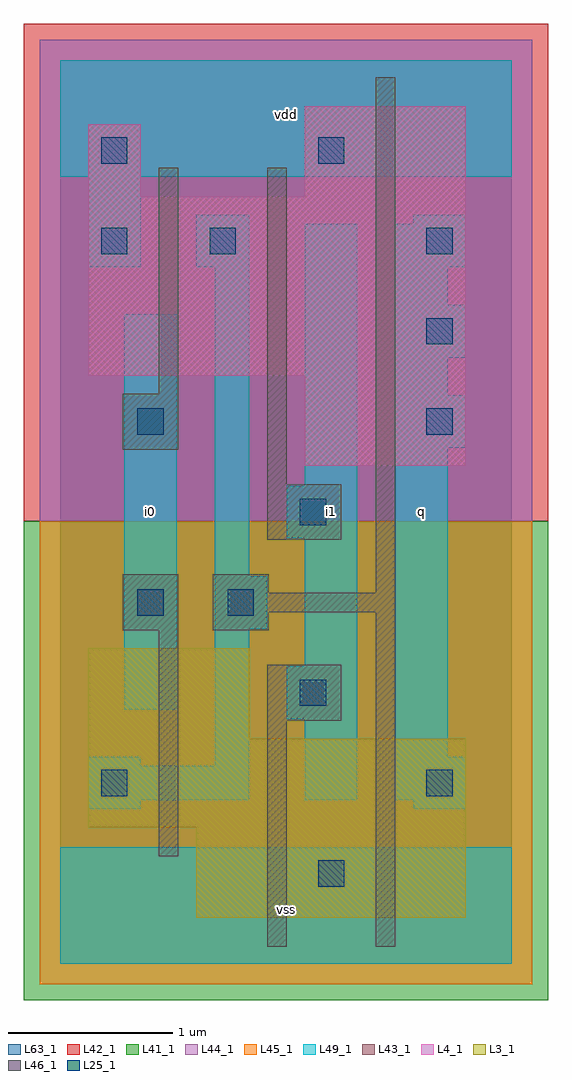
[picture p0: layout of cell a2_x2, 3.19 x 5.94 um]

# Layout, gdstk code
import gdstk
lib = gdstk.Library(unit=1e-6, precision=1e-09)
def R(c, l, rs):  # rectangles x0, y0, x1, y1
    for r in rs: c.add(gdstk.rectangle(r[:2], r[2:], *l))
def A(c, l, x, y, w, h, nx, ny, dx, dy):  # array of equal rectangles
    R(c, l, [(x+i*dx, y+j*dy, x+i*dx+w, y+j*dy+h) for i in range(nx) for j in range(ny)])
L3_1 = (3, 1)
L4_1 = (4, 1)
L25_1 = (25, 1)
L41_1 = (41, 1)
L42_1 = (42, 1)
L43_1 = (43, 1)
L44_1 = (44, 1)
L45_1 = (45, 1)
L46_1 = (46, 1)
L49_1 = (49, 1)
L63_1 = (63, 1)

a2_x2 = lib.new_cell('a2_x2')
R(a2_x2, L3_1, [(0.83,0.28,2.47,0.83), (0.17,0.83,2.47,1.37), (0.17,1.37,1.15,1.92)])
R(a2_x2, L4_1, [(1.49,3.03,2.47,3.58), (0.17,3.58,2.47,4.67), (0.17,4.67,0.49,5.11), (1.49,4.67,2.47,5.22)])
A(a2_x2, L25_1, 2.23, 3.22, 0.16, 0.16, 1, 3, 0, 0.55)
R(a2_x2, L25_1, [(1.57,0.47,1.73,0.63), (0.25,1.02,0.41,1.18), (2.23,1.02,2.39,1.18), (1.46,1.57,1.62,1.73), (0.47,2.12,0.63,2.28), (1.02,2.12,1.18,2.28), (1.46,2.67,1.62,2.83), (0.47,3.22,0.63,3.38), (0.25,4.32,0.41,4.48), (0.91,4.32,1.07,4.48), (0.25,4.87,0.41,5.03), (1.57,4.87,1.73,5.03)])
R(a2_x2, L41_1, [(-0.22,-0.22,2.97,2.695)])
R(a2_x2, L42_1, [(-0.22,2.695,2.97,5.72)])
R(a2_x2, L43_1, [(0.83,0.28,2.47,0.83), (0.17,0.83,2.47,1.37), (0.17,1.37,1.15,1.92), (1.49,3.03,2.47,3.58), (0.17,3.58,2.47,4.67), (0.17,4.67,0.49,5.11), (1.49,4.67,2.47,5.22)])
R(a2_x2, L44_1, [(-0.125,2.695,2.875,5.625)])
R(a2_x2, L45_1, [(-0.125,-0.125,2.875,2.695)])
R(a2_x2, L46_1, [(1.26,0.105,1.38,1.48), (1.92,0.105,2.04,2.14), (0.6,0.655,0.72,2.03), (1.26,1.48,1.71,1.82), (0.38,2.03,0.72,2.37), (0.93,2.03,1.27,2.14), (0.93,2.14,2.04,2.26), (0.93,2.26,1.27,2.37), (1.92,2.26,2.04,5.395), (1.26,2.58,1.71,2.92), (1.26,2.92,1.38,4.845), (0.38,3.13,0.72,3.47), (0.6,3.47,0.72,4.845)])
R(a2_x2, L49_1, [(0,0,2.75,0.71), (0.17,0.94,0.49,0.995), (2.15,0.94,2.47,0.995), (0.17,0.995,1.15,1.205), (1.49,0.995,1.81,1.49), (2.04,0.995,2.47,1.26), (0.17,1.205,0.49,1.26), (0.94,1.205,1.15,2.04), (2.04,1.26,2.36,3.14), (1.38,1.49,1.81,1.81), (0.39,1.545,0.71,3.955), (1.49,1.81,1.81,2.59), (0.94,2.04,1.26,2.36), (0.94,2.36,1.15,4.24), (1.38,2.59,1.81,2.91), (1.49,2.91,1.81,4.505), (2.04,3.14,2.47,3.46), (2.04,3.46,2.36,3.69), (2.04,3.69,2.47,4.01), (2.04,4.01,2.36,4.24), (0.17,4.24,0.49,4.79), (0.83,4.24,1.15,4.56), (2.04,4.24,2.47,4.505), (2.15,4.505,2.47,4.56), (0,4.79,2.75,5.5)])
R(a2_x2, L63_1, [(0,0,2.75,5.5)])
a2_x2.add(gdstk.Label('i0', (0.55,2.75), layer=49, texttype=1))
a2_x2.add(gdstk.Label('i0', (0.55,2.75), layer=49, texttype=1))
a2_x2.add(gdstk.Label('vss', (1.375,0.33), layer=49, texttype=1))
a2_x2.add(gdstk.Label('vss', (1.375,0.33), layer=49, texttype=1))
a2_x2.add(gdstk.Label('i1', (1.65,2.75), layer=49, texttype=1))
a2_x2.add(gdstk.Label('i1', (1.65,2.75), layer=49, texttype=1))
a2_x2.add(gdstk.Label('vdd', (1.375,5.17), layer=49, texttype=1))
a2_x2.add(gdstk.Label('vdd', (1.375,5.17), layer=49, texttype=1))
a2_x2.add(gdstk.Label('q', (2.2,2.75), layer=49, texttype=1))
a2_x2.add(gdstk.Label('q', (2.2,2.75), layer=49, texttype=1))

lib.write_gds('a2_x2.gds')
